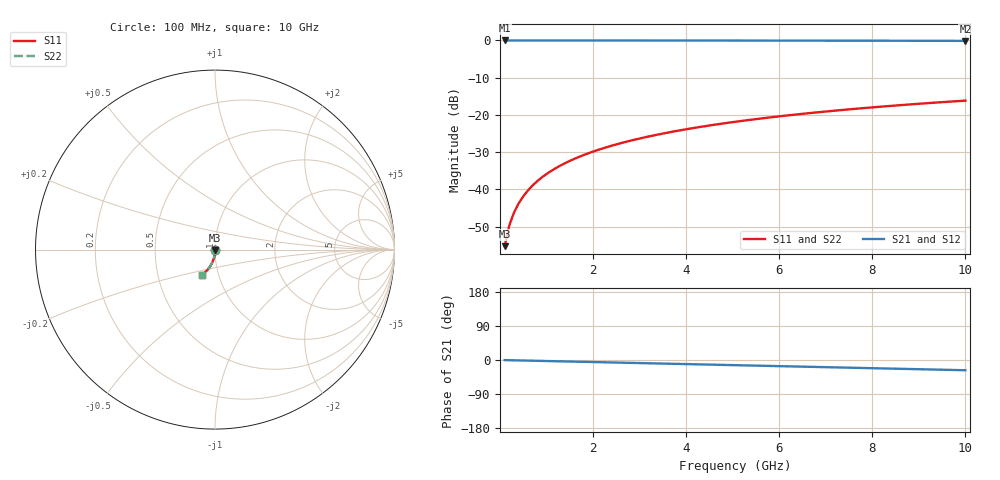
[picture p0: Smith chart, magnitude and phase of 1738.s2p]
# Hz S RI R 50.00
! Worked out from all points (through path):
!   100 points, 100 MHz to 10 GHz, reference 50 ohm
!   highest |S21| = -0.01 dB at 100 MHz (marker M1); lowest = -0.1 dB at 10 GHz (marker M2)
!   group delay of S21, straight-line fit = 7.51 ps
!   lowest |S11| = -55.2 dB at 100 MHz (marker M3), VSWR 1.00, Z = 50.1 - j0.161 ohm
!   |S11| at or under -10 dB: start of sweep to end of sweep
!   |S22| runs from -55.2 to -16.2 dB; largest |S21 - S12| = 0
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1e8  0.000628 -0.00161  0.9993 -0.0047  0.9993 -0.0047  0.000628 -0.00161
2e8  0.000606 -0.00322  0.9993 -0.0094  0.9993 -0.0094  0.000606 -0.00322
3e8  0.000569 -0.00483  0.9992 -0.0141  0.9992 -0.0141  0.000569 -0.00483
4e8  0.000515 -0.00644  0.9991 -0.0188  0.9991 -0.0188  0.000515 -0.00644
5e8  0.000446 -0.00805  0.999 -0.0235  0.999 -0.0235  0.000446 -0.00805
6e8  0.000362 -0.00966  0.9989 -0.0282  0.9989 -0.0282  0.000362 -0.00966
7e8  0.000263 -0.0113  0.9987 -0.0329  0.9987 -0.0329  0.000263 -0.0113
8e8  0.000148 -0.0129  0.9985 -0.0376  0.9985 -0.0376  0.000148 -0.0129
9e8  1.77e-05 -0.0145  0.9983 -0.0423  0.9983 -0.0423  1.77e-05 -0.0145
1.1e9  -0.000288 -0.0177  0.9978 -0.0517  0.9978 -0.0517  -0.000288 -0.0177
1.4e9  -0.000861 -0.0225  0.9969 -0.0658  0.9969 -0.0658  -0.000861 -0.0225
1.8e9  -0.00184 -0.0289  0.9953 -0.0845  0.9953 -0.0845  -0.00184 -0.0289
2.1e9  -0.00273 -0.0337  0.9938 -0.0985  0.9938 -0.0985  -0.00273 -0.0337
2.5e9  -0.00412 -0.04  0.9915 -0.1172  0.9915 -0.1172  -0.00412 -0.04
2.9e9  -0.00575 -0.0462  0.9889 -0.1359  0.9889 -0.1359  -0.00575 -0.0462
3.4e9  -0.00813 -0.054  0.985 -0.1591  0.985 -0.1591  -0.00813 -0.054
4.2e9  -0.0127 -0.0661  0.9774 -0.196  0.9774 -0.196  -0.0127 -0.0661
5.1e9  -0.0189 -0.0793  0.9672 -0.2371  0.9672 -0.2371  -0.0189 -0.0793
5.9e9  -0.0253 -0.0906  0.9564 -0.2731  0.9564 -0.2731  -0.0253 -0.0906
6.7e9  -0.0326 -0.1014  0.9442 -0.3087  0.9442 -0.3087  -0.0326 -0.1014
8.4e9  -0.0506 -0.1222  0.9135 -0.3822  0.9135 -0.3822  -0.0506 -0.1222
1e10  -0.0703 -0.1388  0.879 -0.4483  0.879 -0.4483  -0.0703 -0.1388
